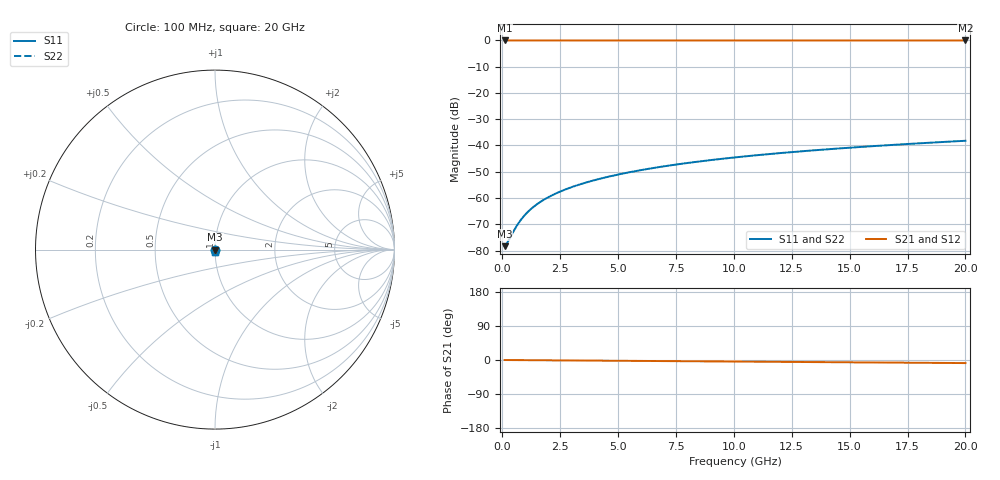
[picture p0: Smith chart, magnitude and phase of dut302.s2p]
! Touchstone file exported from HFSS 2026.1.0
!  File:  C:/ffzhzh/LocalFiles/Ansys_Project_Files/temp_train_TSV_302_1783017900_4048.aedt
!  Generated:  02:46:31 AM Jul  3, 2026
!  Design:  TSV
!  Project:  temp_train_TSV_302_1783017900_4048
! Variables:
!  h_bsmrdl = 2um
!  h_ox = 20um
!  h_rdl = 5um
!  h_sub = 82.93um
!  h_tmrdl = 5um
!  h_tsv = 82.93um
!  h_via = 3um
!  l_bsmrdl = 300um
!  l_sub = 421.48um
!  l_tmrdl = 200um
!  m_sub = 200um
!  pitch = 39.75um
!  r_tsv = 10.74um
!  s_tmrdl = 10um
!  w_bsmrdl = 18um
!  w_sub = 500um
!  w_tmrdl = 12um
!  x_tsv_center1 = 206um
!  x_tsv_center2 = 524um
!  x_tsv_center3 = 736um
!  x_tsv_center4 = 1054um
!  x_tsv_center5 = 1266um
!  x_tsv_center6 = 1584um
# GHz S MA R 50.000000
! Terminal data exported
! Port[1] = TSV1_1_T1
! Port[2] = TSV1_1_T2
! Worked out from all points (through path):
!   200 points, 100 MHz to 20 GHz, reference 50 ohm
!   highest |S21| = 0.00 dB at 100 MHz (marker M1); lowest = 0.0 dB at 20 GHz (marker M2)
!   group delay of S21, straight-line fit = 1.13 ps
!   lowest |S11| = -78.4 dB at 100 MHz (marker M3), VSWR 1.00, Z = 50 - j0.00157 ohm
!   |S11| at or under -10 dB: start of sweep to end of sweep
!   |S22| runs from -78.4 to -38.2 dB; largest |S21 - S12| = 4.1e-15
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0.1  0.0001209 -7.5  0.9999 -0.0  0.9999 -0.0  0.0001209 -7.5
! Gamma 0 0 0 0
! Port Impedance 50 0 50 0
0.2  0.0001374 -14.6  0.9999 -0.1  0.9999 -0.1  0.0001374 -14.6
0.6  0.000283 -37.0  0.9998 -0.3  0.9998 -0.3  0.000283 -37.0
0.8  0.000382 -44.8  0.9997 -0.3  0.9997 -0.3  0.000382 -44.8
0.9  0.0004342 -48.1  0.9997 -0.4  0.9997 -0.4  0.0004342 -48.1
1.1  0.0005418 -53.4  0.9997 -0.5  0.9997 -0.5  0.0005418 -53.4
1.4  0.0007069 -59.3  0.9996 -0.6  0.9996 -0.6  0.0007069 -59.3
1.6  0.0008182 -62.3  0.9996 -0.7  0.9996 -0.7  0.0008183 -62.3
1.8  0.0009302 -64.7  0.9996 -0.7  0.9996 -0.7  0.0009302 -64.7
2.3  0.001212 -69.1  0.9995 -1.0  0.9995 -1.0  0.001212 -69.1
2.9  0.001555 -72.6  0.9995 -1.2  0.9995 -1.2  0.001555 -72.6
3.5  0.001903 -74.9  0.9995 -1.4  0.9995 -1.4  0.001903 -74.9
4.2  0.002316 -76.9  0.9994 -1.7  0.9994 -1.7  0.002316 -76.9
5  0.002795 -78.7  0.9993 -2.1  0.9993 -2.1  0.002795 -78.7
5.9  0.003343 -80.2  0.9993 -2.4  0.9993 -2.4  0.003343 -80.2
6.8  0.003898 -81.5  0.9992 -2.8  0.9992 -2.8  0.003898 -81.5
8.3  0.004832 -83.3  0.9991 -3.4  0.9991 -3.4  0.004832 -83.3
10.1  0.005963 -85.2  0.9991 -4.1  0.9991 -4.1  0.005963 -85.2
11.7  0.006974 -86.6  0.999 -4.8  0.999 -4.8  0.006974 -86.6
13.4  0.008053 -87.9  0.9989 -5.5  0.9989 -5.5  0.008053 -87.9
16.7  0.01016 -90.1  0.9988 -6.8  0.9988 -6.8  0.01016 -90.1
20  0.01229 -92.0  0.9986 -8.1  0.9986 -8.1  0.01229 -92.0
